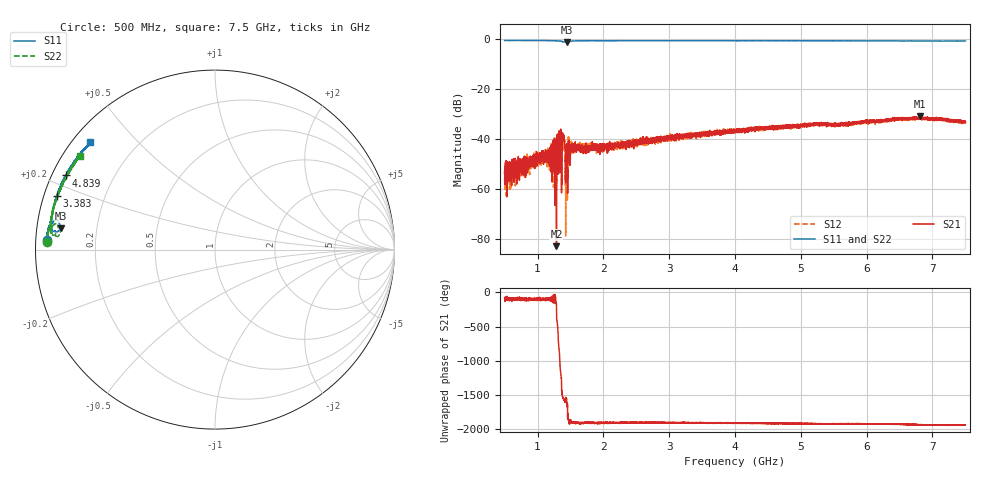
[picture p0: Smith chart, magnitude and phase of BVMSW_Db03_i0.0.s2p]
!Keysight Technologies,M9374A,MY55442783,A.12.55.05
!Date: Friday, May 21, 2021 10:35:05
!Correction: S11(Full 2 Port(1,2))
!S21(Full 2 Port(1,2))
!S12(Full 2 Port(1,2))
!S22(Full 2 Port(1,2))
!S2P File: Measurements: S11, S21, S12, S22:
# Hz S  RI  R 50
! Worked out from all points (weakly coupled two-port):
!   7001 points, 500 MHz to 7.5 GHz, reference 50 ohm
!   highest |S21| = -30.71 dB at 6.803 GHz (marker M1); lowest = -82.7 dB at 1.288 GHz (marker M2)
!   lowest |S11| = -1.3 dB at 1.451 GHz (marker M3), VSWR 13.90, Z = 3.61 + j3.42 ohm
!   |S11| at or under -10 dB: nowhere
!   |S22| runs from -1.3 to -0.5 dB; largest |S21 - S12| = 0.0061
!   S11 on the Smith chart (normalised r, x): 500 MHz: 0.03, +0.03; 3.383 GHz: 0.04, +0.16; 4.839 GHz: 0.04, +0.23; 7.5 GHz: 0.05, +0.37
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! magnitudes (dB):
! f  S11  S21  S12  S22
! 500 MHz  -0.5  -53.6  -52.2  -0.5
! 1.213 GHz  -0.6  -43.9  -42.0  -0.6
! 1.288 GHz  -0.7  -82.7  -51.4  -0.7
! 1.328 GHz  -0.7  -37.6  -36.7  -0.8
! 1.342 GHz  -0.8  -44.2  -48.2  -0.8
! 1.379 GHz  -1.0  -37.4  -40.6  -1.0
! 1.396 GHz  -1.1  -39.0  -40.3  -1.1
! 1.411 GHz  -1.2  -40.3  -43.1  -1.1
! 1.427 GHz  -1.1  -48.6  -53.6  -1.2
! 1.451 GHz  -1.3  -52.0  -53.3  -1.2
! 1.486 GHz  -1.0  -45.0  -44.6  -1.0
! 1.5 GHz  -0.9  -45.8  -44.9  -1.0
! 1.667 GHz  -0.7  -42.6  -42.7  -0.7
! 1.966 GHz  -0.7  -42.3  -42.3  -0.6
! 2.834 GHz  -0.6  -39.4  -40.4  -0.6
! 3.383 GHz  -0.6  -38.1  -38.0  -0.7
! 4 GHz  -0.6  -36.7  -36.7  -0.7
! 4.839 GHz  -0.6  -35.3  -35.1  -0.7
! 5.167 GHz  -0.6  -34.4  -34.2  -0.7
! 6.334 GHz  -0.7  -32.7  -32.0  -0.7
! 6.803 GHz  -0.7  -30.7  -31.6  -0.7
! 7.5 GHz  -0.7  -33.4  -33.0  -0.8
